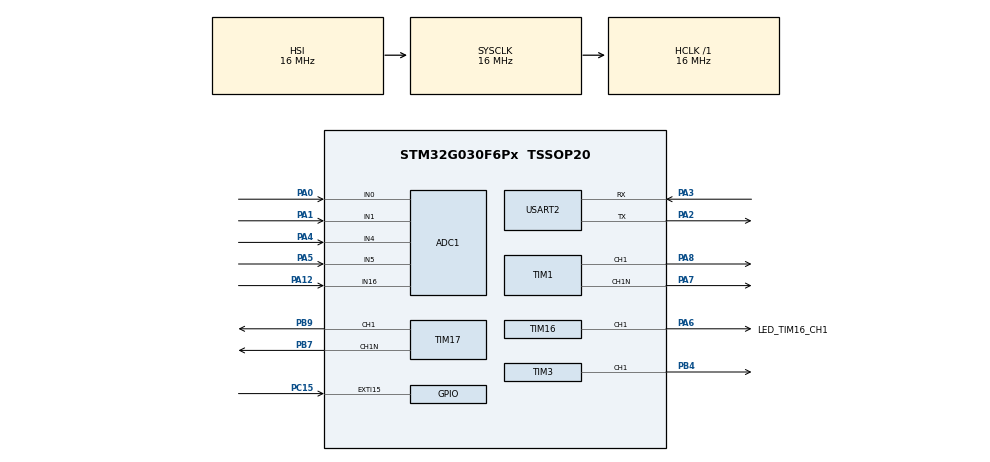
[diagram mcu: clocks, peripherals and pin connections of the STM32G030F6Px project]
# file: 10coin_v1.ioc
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ADC1.DMAContinuousRequests=ENABLE
ADC1.DataAlign=ADC_DATAALIGN_RIGHT
ADC1.ExternalTrigConv=ADC_EXTERNALTRIG_T3_TRGO
ADC1.NbrOfConversion=1
ADC1.NbrOfConversionFlag=0
ADC1.SamplingTimeCommon1=ADC_SAMPLETIME_7CYCLES_5
ADC1.SelectedChannel=ADC_CHANNEL_0|ADC_CHANNEL_1|ADC_CHANNEL_4|ADC_CHANNEL_5|ADC_CHANNEL_16
ADC1.Sequencer=NOT_FULLY_CONFIGURABLE
ADC1.master=1
Dma.ADC1.0.Direction=DMA_PERIPH_TO_MEMORY
Dma.ADC1.0.EventEnable=DISABLE
Dma.ADC1.0.Instance=DMA1_Channel1
Dma.ADC1.0.MemDataAlignment=DMA_MDATAALIGN_WORD
Dma.ADC1.0.MemInc=DMA_MINC_ENABLE
Dma.ADC1.0.Mode=DMA_CIRCULAR
Dma.ADC1.0.PeriphDataAlignment=DMA_PDATAALIGN_WORD
Dma.ADC1.0.PeriphInc=DMA_PINC_DISABLE
Dma.ADC1.0.Polarity=HAL_DMAMUX_REQ_GEN_RISING
Dma.ADC1.0.Priority=DMA_PRIORITY_LOW
Dma.ADC1.0.RequestNumber=1
Dma.ADC1.0.SignalID=NONE
Dma.ADC1.0.SyncEnable=DISABLE
Dma.ADC1.0.SyncPolarity=HAL_DMAMUX_SYNC_NO_EVENT
Dma.ADC1.0.SyncRequestNumber=1
Dma.ADC1.0.SyncSignalID=NONE
Dma.Request0=ADC1
Mcu.Family=STM32G0
Mcu.Name=STM32G030F6Px
Mcu.Package=TSSOP20
NVIC.DMA1_Channel1_IRQn=true\:0\:0\:false\:false\:true\:false\:true\:true
NVIC.TIM3_IRQn=true\:0\:0\:false\:false\:true\:true\:true\:true
NVIC.USART2_IRQn=true\:0\:0\:false\:false\:true\:true\:true\:true
PA0.Mode=IN0
PA0.Signal=ADC1_IN0
PA1.Mode=IN1
PA1.Signal=ADC1_IN1
PA12\ [PA10].Mode=IN16
PA12\ [PA10].Signal=ADC1_IN16
PA13.Mode=Serial_Wire
PA13.Signal=SYS_SWDIO
PA14-BOOT0.Mode=Serial_Wire
PA14-BOOT0.Signal=SYS_SWCLK
PA14-BOOT0__PA15.StandardMode=true
PA2.Mode=Asynchronous
PA2.Signal=USART2_TX
PA3.Mode=Asynchronous
PA3.Signal=USART2_RX
PA4.Mode=IN4
PA4.Signal=ADC1_IN4
PA5.Mode=IN5
PA5.Signal=ADC1_IN5
PA6.GPIO_Label=LED_TIM16_CH1
PA6.Signal=S_TIM16_CH1
PA7.Mode=PWM Generation1 CH1 CH1N
PA7.Signal=TIM1_CH1N
PA8.Signal=S_TIM1_CH1
PB0__PB1__PB2__PA8.StandardMode=true
PB3__PB4__PB5__PB6.StandardMode=true
PB4.Signal=S_TIM3_CH1
PB7.Mode=PWM Generation1 CH1 CH1N
PB7.Signal=TIM17_CH1N
PB7__PB8.StandardMode=true
PB9.Signal=S_TIM17_CH1
PC14-OSC32_IN\ (PC14)__PB9.StandardMode=true
PC15-OSC32_OUT\ (PC15).Signal=GPXTI15
ProjectManager.HeapSize=0x200
ProjectManager.StackSize=0x400
ProjectManager.TargetToolchain=CMake
RCC.ADCFreq_Value=16000000
RCC.AHBFreq_Value=16000000
RCC.CortexFreq_Value=16000000
RCC.EXTERNAL_CLOCK_VALUE=12288000
RCC.HCLKFreq_Value=16000000
RCC.HSE_VALUE=8000000
RCC.HSI_VALUE=16000000
RCC.LSE_VALUE=32768
RCC.SYSCLKFreq_VALUE=16000000
RCC.VCOOutputFreq_Value=128000000
SH.S_TIM16_CH1.0=TIM16_CH1,PWM Generation1 CH1
SH.S_TIM17_CH1.0=TIM17_CH1,PWM Generation1 CH1 CH1N
SH.S_TIM1_CH1.0=TIM1_CH1,PWM Generation1 CH1 CH1N
SH.S_TIM3_CH1.0=TIM3_CH1,PWM Generation1 CH1
TIM1.Channel-PWM\ Generation1\ CH1\ CH1N=TIM_CHANNEL_1
TIM16.Channel=TIM_CHANNEL_1
TIM17.Channel=TIM_CHANNEL_1
TIM3.AutoReloadPreload=TIM_AUTORELOAD_PRELOAD_ENABLE
TIM3.Channel-PWM\ Generation1\ CH1=TIM_CHANNEL_1
TIM3.ClockDivision=TIM_CLOCKDIVISION_DIV1
TIM3.CounterMode=TIM_COUNTERMODE_CENTERALIGNED1
TIM3.Period=65535
TIM3.Prescaler=0
TIM3.Pulse-PWM\ Generation1\ CH1=30000
TIM3.TIM_MasterOutputTrigger=TIM_TRGO_UPDATE
USART2.SwapParam=ADVFEATURE_SWAP_ENABLE
USART2.VirtualMode-Asynchronous=VM_ASYNC
VP_TIM16_VS_ClockSourceINT.Mode=Enable_Timer
VP_TIM17_VS_ClockSourceINT.Mode=Enable_Timer
board=custom

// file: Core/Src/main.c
/* USER CODE BEGIN Header */
/**
  ******************************************************************************
  * @file           : main.c
  * @brief          : Main program body
  ******************************************************************************
  * @attention
  *
  * Copyright (c) 2026 STMicroelectronics.
  * All rights reserved.
  *
  * This software is licensed under terms that can be found in the LICENSE file
  * in the root directory of this software component.
  * If no LICENSE file comes with this software, it is provided AS-IS.
  *
  ******************************************************************************
  */
/* USER CODE END Header */
#include "main.h"

/* USER CODE BEGIN Includes */
#include "stdlib.h"
#include "stdint.h"
#include "stm32g0xx_hal.h"
#include "stm32g0xx_hal_adc.h"
#include "stm32g0xx_hal_tim.h"
#include "string.h"
#include "stdio.h"
#include "cmsis_compiler.h"
#include "stm32g0xx.h"
// #include <corecrt_math.h>
// #include <locale>
#include <stdint.h>
#include <sys/_intsup.h>
#include <sys/types.h>
/* USER CODE END Includes */

ADC_HandleTypeDef hadc1;
DMA_HandleTypeDef hdma_adc1;

TIM_HandleTypeDef htim1;
TIM_HandleTypeDef htim3;
TIM_HandleTypeDef htim16;
TIM_HandleTypeDef htim17;

UART_HandleTypeDef huart2;

/* USER CODE BEGIN PV */
uint32_t ADC_Buff[5];
int32_t meas_volt[5];

int32_t conter = 0;

int32_t clkspeed = 16000000;

uint32_t PWM_Freq_3;
int32_t PWM_DutyC_3;
int32_t PWM_Period_3;
int32_t PWM_Prescaler_3;
int32_t PWM_PulseWidth_3;

int32_t PWM_Freq_1;
int32_t PWM_DutyC_1;
int32_t PWM_Period_1;
int32_t PWM_DeadT_1;

int32_t PWM_Freq_17;
int32_t PWM_DutyC_17;
int32_t PWM_Period_17;
int32_t PWM_DeadT_17;

// char userstring[80];
uint32_t userinput;
/* USER CODE END PV */

void SystemClock_Config(void);
static void MX_GPIO_Init(void);
static void MX_DMA_Init(void);
static void MX_ADC1_Init(void);
static void MX_TIM1_Init(void);
static void MX_TIM3_Init(void);
static void MX_TIM16_Init(void);
static void MX_TIM17_Init(void);
static void MX_USART2_UART_Init(void);

/* USER CODE BEGIN 0 */
  #ifdef __GNUC__
    #define PUTCHAR_PROTOTYPE int __io_putchar(int ch)
  #else
    #define PUTCHAR_PROTOTYPE int fputc(int ch, FILE *f)
  #endif

PUTCHAR_PROTOTYPE
{
  HAL_UART_Transmit(&huart2, (uint8_t *)&ch, 1, 0xFFF);

  return ch;
}

// #ifdef __GNUC__
// #define GETCHAR_PROTOTYPE int __io_getchar(void)
// #else
// #define GETCHAR_PROTOTYPE int fgetc(FILE *f)
// #endif

// GETCHAR_PROTOTYPE
// {
//   uint8_t ch = 0;

//   /* Clear the Overrun flag just before receiving the first character */
//   __HAL_UART_CLEAR_OREFLAG(&huart2);

//   /* Wait for reception of a character on the USART RX line and echo this
//    * character on console */
//   HAL_UART_Receive(&huart2, (uint8_t *)&ch, 1, HAL_MAX_DELAY);
//   HAL_UART_Transmit(&huart2, (uint8_t *)&ch, 1, HAL_MAX_DELAY);
//   return ch;
// }

long map(long x, long in_min, long in_max, long out_min, long out_max)
{
  return (x - in_min) * (out_max - out_min + 1) / (in_max - in_min + 1) + out_min;
}

uint32_t Timer_CalculatePeriod(uint32_t timerClockHz, uint32_t outputFreqHz, uint16_t prescaler)
{
    return (timerClockHz / (outputFreqHz * (prescaler + 1)) - 1);
}

uint32_t Timer_CalculateDutyC(uint32_t PWM_Period, uint32_t PWM_DutyC)
{
    return (int)((PWM_Period*PWM_DutyC)/100);
}

// int32_t pulsewidth(int32_t voltage)
// {
//   if()
// }

void HAL_TIM_PeriodElapsedCallback(TIM_HandleTypeDef *htim)
{
  if (htim->Instance == TIM3) // Check which timer triggered the interrupt
  {
    // Your interrupt logic (e.g., toggle an LED, set a flag)
    printf("eitje klaar");
  }
}

/* USER CODE END 0 */

int main(void)
{

  /* MCU Configuration--------------------------------------------------------*/

  /* Reset of/ all peripherals, Initializes the Flash interface and the Systick. */
  HAL_Init();

  /* USER CODE BEGIN Init */
  // printf("USER CODE BEGIN Init \n");
  /* USER CODE END Init */

  /* Configure the system clock */
  SystemClock_Config();

  /* Initialize all configured peripherals */
  MX_GPIO_Init();
  MX_DMA_Init();
  MX_ADC1_Init();
  MX_TIM1_Init();
  MX_TIM3_Init();
  MX_TIM16_Init();
  MX_TIM17_Init();
  MX_USART2_UART_Init();
  // setvbuf(stdin, NULL, _IONBF, 0); // for scanf
  /* USER CODE BEGIN 2 */
  // printf("USER CODE BEGIN 2 \n");
  // PWM_Period = clkspeed/(2*PWM_Freq) - 1;
  PWM_Freq_3    = 5;
  PWM_DutyC_3   = 50;
  PWM_Prescaler_3 = 160;
  PWM_Period_3  = Timer_CalculatePeriod(clkspeed, PWM_Freq_3, PWM_Prescaler_3);
  TIM3->ARR     = PWM_Period_3;
  TIM3->CCR1    = (int)((PWM_Period_3*PWM_DutyC_3)/100);
  TIM3->PSC     = PWM_Prescaler_3;

  PWM_Freq_1    = 80000;
  PWM_DutyC_1   = 50;
  PWM_Period_1  = Timer_CalculatePeriod(clkspeed, PWM_Freq_1, 0);
  PWM_DeadT_1   = 5;

  TIM1->ARR     = PWM_Period_1;
  TIM1->CCR1    = Timer_CalculateDutyC(PWM_Period_1,PWM_DutyC_1);
  TIM1->BDTR    = PWM_DeadT_1;

  PWM_DutyC_17  = 50;
  PWM_Freq_17   = 70000;
  PWM_Period_17 = Timer_CalculatePeriod(clkspeed, PWM_Freq_17, 0);
  PWM_DeadT_17  = 5;

  TIM17->ARR    = PWM_Period_17;
  TIM17->CCR1   = Timer_CalculateDutyC(PWM_Period_17,PWM_DutyC_17);
  TIM17->BDTR   = PWM_DeadT_17;
  // __HAL_TIM_SET_AUTORELOAD(&htim1, PWM_Period);
  // __HAL_TIM_SET_COMPARE(&htim1, TIM_CHANNEL_1, (int)((PWM_Period*PWM_DutyC)/100));

  HAL_TIM_PWM_Start(&htim3, TIM_CHANNEL_1);
  HAL_TIM_PWM_Start(&htim1, TIM_CHANNEL_1);
  HAL_TIM_PWM_Start(&htim17, TIM_CHANNEL_1);
  HAL_TIMEx_PWMN_Start(&htim17, TIM_CHANNEL_1);

  HAL_ADCEx_Calibration_Start(&hadc1);
  HAL_ADC_Start_DMA(&hadc1, (uint32_t*)ADC_Buff, 5);
  /* USER CODE END 2 */

  /* Infinite loop */
  /* USER CODE BEGIN WHILE */
  // printf("USER CODE BEGIN WHILE\n");
  while (1)
  {
    /* USER CODE END WHILE */
    // counter for serial debugging
    printf("counter: %ld\n", (long)conter);
    conter++;

    // PWM_Freq_1  = map(meas_volt[0], 0, 3300, 10, 2000); // V->Hz
    PWM_DutyC_17 = map(meas_volt[1], 0, 3300, 0, 100);   // V->%
    // PWM_Period_17= clkspeed/(2*PWM_Freq_1) - 1;
    TIM17->CCR1  = (int)((PWM_Period_17 * PWM_DutyC_17)/100);
    // TIM1->ARR   = PWM_Period_1;

    // print voltage measurement to compare to scope
    for (int i = 0; i < 5; i++)
    {
       printf("ADC_%d:%ld\n", i, meas_volt[i]);
    }

    // so the serial monitor is readable at all
    HAL_Delay(50);
  }
}

void SystemClock_Config(void)
{
  RCC_OscInitTypeDef RCC_OscInitStruct = {0};
  RCC_ClkInitTypeDef RCC_ClkInitStruct = {0};

  /** Configure the main internal regulator output voltage
  */
  HAL_PWREx_ControlVoltageScaling(PWR_REGULATOR_VOLTAGE_SCALE1);

  /** Initializes the RCC Oscillators according to the specified parameters
  * in the RCC_OscInitTypeDef structure.
  */
  RCC_OscInitStruct.OscillatorType = RCC_OSCILLATORTYPE_HSI;
  RCC_OscInitStruct.HSIState = RCC_HSI_ON;
  RCC_OscInitStruct.HSIDiv = RCC_HSI_DIV1;
  RCC_OscInitStruct.HSICalibrationValue = RCC_HSICALIBRATION_DEFAULT;
  RCC_OscInitStruct.PLL.PLLState = RCC_PLL_NONE;
  if (HAL_RCC_OscConfig(&RCC_OscInitStruct) != HAL_OK)
  {
    Error_Handler();
  }

  /** Initializes the CPU, AHB and APB buses clocks
  */
  RCC_ClkInitStruct.ClockType = RCC_CLOCKTYPE_HCLK|RCC_CLOCKTYPE_SYSCLK
                              |RCC_CLOCKTYPE_PCLK1;
  RCC_ClkInitStruct.SYSCLKSource = RCC_SYSCLKSOURCE_HSI;
  RCC_ClkInitStruct.AHBCLKDivider = RCC_SYSCLK_DIV1;
  RCC_ClkInitStruct.APB1CLKDivider = RCC_HCLK_DIV1;

  if (HAL_RCC_ClockConfig(&RCC_ClkInitStruct, FLASH_LATENCY_0) != HAL_OK)
  {
    Error_Handler();
  }
}

static void MX_ADC1_Init(void)
{

  ADC_ChannelConfTypeDef sConfig = {0};

  /** Configure the global features of the ADC (Clock, Resolution, Data Alignment and number of conversion)
  */
  hadc1.Instance = ADC1;
  hadc1.Init.ClockPrescaler = ADC_CLOCK_SYNC_PCLK_DIV2;
  hadc1.Init.Resolution = ADC_RESOLUTION_12B;
  hadc1.Init.DataAlign = ADC_DATAALIGN_RIGHT;
  hadc1.Init.ScanConvMode = ADC_SCAN_SEQ_FIXED;
  hadc1.Init.EOCSelection = ADC_EOC_SINGLE_CONV;
  hadc1.Init.LowPowerAutoWait = DISABLE;
  hadc1.Init.LowPowerAutoPowerOff = DISABLE;
  hadc1.Init.ContinuousConvMode = DISABLE;
  hadc1.Init.NbrOfConversion = 1;
  hadc1.Init.DiscontinuousConvMode = DISABLE;
  hadc1.Init.ExternalTrigConv = ADC_EXTERNALTRIG_T3_TRGO;
  hadc1.Init.ExternalTrigConvEdge = ADC_EXTERNALTRIGCONVEDGE_RISING;
  hadc1.Init.DMAContinuousRequests = ENABLE;
  hadc1.Init.Overrun = ADC_OVR_DATA_PRESERVED;
  hadc1.Init.SamplingTimeCommon1 = ADC_SAMPLETIME_7CYCLES_5;
  hadc1.Init.OversamplingMode = DISABLE;
  hadc1.Init.TriggerFrequencyMode = ADC_TRIGGER_FREQ_HIGH;
  if (HAL_ADC_Init(&hadc1) != HAL_OK)
  {
    Error_Handler();
  }

  /** Configure Regular Channel
  */
  sConfig.Channel = ADC_CHANNEL_0;
  sConfig.Rank = ADC_RANK_CHANNEL_NUMBER;
  if (HAL_ADC_ConfigChannel(&hadc1, &sConfig) != HAL_OK)
  {
    Error_Handler();
  }

  /** Configure Regular Channel
  */
  sConfig.Channel = ADC_CHANNEL_1;
  if (HAL_ADC_ConfigChannel(&hadc1, &sConfig) != HAL_OK)
  {
    Error_Handler();
  }

  /** Configure Regular Channel
  */
  sConfig.Channel = ADC_CHANNEL_4;
  if (HAL_ADC_ConfigChannel(&hadc1, &sConfig) != HAL_OK)
  {
    Error_Handler();
  }

  /** Configure Regular Channel
  */
  sConfig.Channel = ADC_CHANNEL_5;
  if (HAL_ADC_ConfigChannel(&hadc1, &sConfig) != HAL_OK)
  {
    Error_Handler();
  }

  /** Configure Regular Channel
  */
  sConfig.Channel = ADC_CHANNEL_16;
  if (HAL_ADC_ConfigChannel(&hadc1, &sConfig) != HAL_OK)
  {
    Error_Handler();
  }

}

static void MX_TIM1_Init(void)
{

  TIM_MasterConfigTypeDef sMasterConfig = {0};
  TIM_OC_InitTypeDef sConfigOC = {0};
  TIM_BreakDeadTimeConfigTypeDef sBreakDeadTimeConfig = {0};

  htim1.Instance = TIM1;
  htim1.Init.Prescaler = 0;
  htim1.Init.CounterMode = TIM_COUNTERMODE_UP;
  htim1.Init.Period = 65535;
  htim1.Init.ClockDivision = TIM_CLOCKDIVISION_DIV1;
  htim1.Init.RepetitionCounter = 0;
  htim1.Init.AutoReloadPreload = TIM_AUTORELOAD_PRELOAD_DISABLE;
  if (HAL_TIM_PWM_Init(&htim1) != HAL_OK)
  {
    Error_Handler();
  }
  sMasterConfig.MasterOutputTrigger = TIM_TRGO_RESET;
  sMasterConfig.MasterOutputTrigger2 = TIM_TRGO2_RESET;
  sMasterConfig.MasterSlaveMode = TIM_MASTERSLAVEMODE_DISABLE;
  if (HAL_TIMEx_MasterConfigSynchronization(&htim1, &sMasterConfig) != HAL_OK)
  {
    Error_Handler();
  }
  sConfigOC.OCMode = TIM_OCMODE_PWM1;
  sConfigOC.Pulse = 0;
  sConfigOC.OCPolarity = TIM_OCPOLARITY_HIGH;
  sConfigOC.OCNPolarity = TIM_OCNPOLARITY_HIGH;
  sConfigOC.OCFastMode = TIM_OCFAST_DISABLE;
  sConfigOC.OCIdleState = TIM_OCIDLESTATE_RESET;
  sConfigOC.OCNIdleState = TIM_OCNIDLESTATE_RESET;
  if (HAL_TIM_PWM_ConfigChannel(&htim1, &sConfigOC, TIM_CHANNEL_1) != HAL_OK)
  {
    Error_Handler();
  }
  sBreakDeadTimeConfig.OffStateRunMode = TIM_OSSR_DISABLE;
  sBreakDeadTimeConfig.OffStateIDLEMode = TIM_OSSI_DISABLE;
  sBreakDeadTimeConfig.LockLevel = TIM_LOCKLEVEL_OFF;
  sBreakDeadTimeConfig.DeadTime = 0;
  sBreakDeadTimeConfig.BreakState = TIM_BREAK_DISABLE;
  sBreakDeadTimeConfig.BreakPolarity = TIM_BREAKPOLARITY_HIGH;
  sBreakDeadTimeConfig.BreakFilter = 0;
  sBreakDeadTimeConfig.BreakAFMode = TIM_BREAK_AFMODE_INPUT;
  sBreakDeadTimeConfig.Break2State = TIM_BREAK2_DISABLE;
  sBreakDeadTimeConfig.Break2Polarity = TIM_BREAK2POLARITY_HIGH;
  sBreakDeadTimeConfig.Break2Filter = 0;
  sBreakDeadTimeConfig.Break2AFMode = TIM_BREAK_AFMODE_INPUT;
  sBreakDeadTimeConfig.AutomaticOutput = TIM_AUTOMATICOUTPUT_DISABLE;
  if (HAL_TIMEx_ConfigBreakDeadTime(&htim1, &sBreakDeadTimeConfig) != HAL_OK)
  {
    Error_Handler();
  }
  HAL_TIM_MspPostInit(&htim1);

}

static void MX_TIM3_Init(void)
{

  TIM_MasterConfigTypeDef sMasterConfig = {0};
  TIM_OC_InitTypeDef sConfigOC = {0};

  htim3.Instance = TIM3;
  htim3.Init.Prescaler = 0;
  htim3.Init.CounterMode = TIM_COUNTERMODE_CENTERALIGNED1;
  htim3.Init.Period = 65535;
  htim3.Init.ClockDivision = TIM_CLOCKDIVISION_DIV1;
  htim3.Init.AutoReloadPreload = TIM_AUTORELOAD_PRELOAD_ENABLE;
  if (HAL_TIM_PWM_Init(&htim3) != HAL_OK)
  {
    Error_Handler();
  }
  sMasterConfig.MasterOutputTrigger = TIM_TRGO_UPDATE;
  sMasterConfig.MasterSlaveMode = TIM_MASTERSLAVEMODE_DISABLE;
  if (HAL_TIMEx_MasterConfigSynchronization(&htim3, &sMasterConfig) != HAL_OK)
  {
    Error_Handler();
  }
  sConfigOC.OCMode = TIM_OCMODE_PWM1;
  sConfigOC.Pulse = 30000;
  sConfigOC.OCPolarity = TIM_OCPOLARITY_HIGH;
  sConfigOC.OCFastMode = TIM_OCFAST_DISABLE;
  if (HAL_TIM_PWM_ConfigChannel(&htim3, &sConfigOC, TIM_CHANNEL_1) != HAL_OK)
  {
    Error_Handler();
  }
  HAL_TIM_MspPostInit(&htim3);

}

static void MX_TIM16_Init(void)
{

  TIM_OC_InitTypeDef sConfigOC = {0};
  TIM_BreakDeadTimeConfigTypeDef sBreakDeadTimeConfig = {0};

  htim16.Instance = TIM16;
  htim16.Init.Prescaler = 0;
  htim16.Init.CounterMode = TIM_COUNTERMODE_UP;
  htim16.Init.Period = 65535;
  htim16.Init.ClockDivision = TIM_CLOCKDIVISION_DIV1;
  htim16.Init.RepetitionCounter = 0;
  htim16.Init.AutoReloadPreload = TIM_AUTORELOAD_PRELOAD_DISABLE;
  if (HAL_TIM_Base_Init(&htim16) != HAL_OK)
  {
    Error_Handler();
  }
  if (HAL_TIM_PWM_Init(&htim16) != HAL_OK)
  {
    Error_Handler();
  }
  sConfigOC.OCMode = TIM_OCMODE_PWM1;
  sConfigOC.Pulse = 0;
  sConfigOC.OCPolarity = TIM_OCPOLARITY_HIGH;
  sConfigOC.OCNPolarity = TIM_OCNPOLARITY_HIGH;
  sConfigOC.OCFastMode = TIM_OCFAST_DISABLE;
  sConfigOC.OCIdleState = TIM_OCIDLESTATE_RESET;
  sConfigOC.OCNIdleState = TIM_OCNIDLESTATE_RESET;
  if (HAL_TIM_PWM_ConfigChannel(&htim16, &sConfigOC, TIM_CHANNEL_1) != HAL_OK)
  {
    Error_Handler();
  }
  sBreakDeadTimeConfig.OffStateRunMode = TIM_OSSR_DISABLE;
  sBreakDeadTimeConfig.OffStateIDLEMode = TIM_OSSI_DISABLE;
  sBreakDeadTimeConfig.LockLevel = TIM_LOCKLEVEL_OFF;
  sBreakDeadTimeConfig.DeadTime = 0;
  sBreakDeadTimeConfig.BreakState = TIM_BREAK_DISABLE;
  sBreakDeadTimeConfig.BreakPolarity = TIM_BREAKPOLARITY_HIGH;
  sBreakDeadTimeConfig.BreakFilter = 0;
  sBreakDeadTimeConfig.AutomaticOutput = TIM_AUTOMATICOUTPUT_DISABLE;
  if (HAL_TIMEx_ConfigBreakDeadTime(&htim16, &sBreakDeadTimeConfig) != HAL_OK)
  {
    Error_Handler();
  }
  HAL_TIM_MspPostInit(&htim16);

}

static void MX_TIM17_Init(void)
{

  TIM_OC_InitTypeDef sConfigOC = {0};
  TIM_BreakDeadTimeConfigTypeDef sBreakDeadTimeConfig = {0};

  htim17.Instance = TIM17;
  htim17.Init.Prescaler = 0;
  htim17.Init.CounterMode = TIM_COUNTERMODE_UP;
  htim17.Init.Period = 65535;
  htim17.Init.ClockDivision = TIM_CLOCKDIVISION_DIV1;
  htim17.Init.RepetitionCounter = 0;
  htim17.Init.AutoReloadPreload = TIM_AUTORELOAD_PRELOAD_ENABLE;
  if (HAL_TIM_Base_Init(&htim17) != HAL_OK)
  {
    Error_Handler();
  }
  if (HAL_TIM_PWM_Init(&htim17) != HAL_OK)
  {
    Error_Handler();
  }
  sConfigOC.OCMode = TIM_OCMODE_PWM1;
  sConfigOC.Pulse = 33000;
  sConfigOC.OCPolarity = TIM_OCPOLARITY_HIGH;
  sConfigOC.OCNPolarity = TIM_OCNPOLARITY_HIGH;
  sConfigOC.OCFastMode = TIM_OCFAST_DISABLE;
  sConfigOC.OCIdleState = TIM_OCIDLESTATE_RESET;
  sConfigOC.OCNIdleState = TIM_OCNIDLESTATE_RESET;
  if (HAL_TIM_PWM_ConfigChannel(&htim17, &sConfigOC, TIM_CHANNEL_1) != HAL_OK)
  {
    Error_Handler();
  }
  sBreakDeadTimeConfig.OffStateRunMode = TIM_OSSR_DISABLE;
  sBreakDeadTimeConfig.OffStateIDLEMode = TIM_OSSI_DISABLE;
  sBreakDeadTimeConfig.LockLevel = TIM_LOCKLEVEL_OFF;
  sBreakDeadTimeConfig.DeadTime = 100;
  sBreakDeadTimeConfig.BreakState = TIM_BREAK_DISABLE;
  sBreakDeadTimeConfig.BreakPolarity = TIM_BREAKPOLARITY_HIGH;
  sBreakDeadTimeConfig.BreakFilter = 0;
  sBreakDeadTimeConfig.AutomaticOutput = TIM_AUTOMATICOUTPUT_DISABLE;
  if (HAL_TIMEx_ConfigBreakDeadTime(&htim17, &sBreakDeadTimeConfig) != HAL_OK)
  {
    Error_Handler();
  }
  HAL_TIM_MspPostInit(&htim17);

}

static void MX_USART2_UART_Init(void)
{

  huart2.Instance = USART2;
  huart2.Init.BaudRate = 115200;
  huart2.Init.WordLength = UART_WORDLENGTH_8B;
  huart2.Init.StopBits = UART_STOPBITS_1;
  huart2.Init.Parity = UART_PARITY_NONE;
  huart2.Init.Mode = UART_MODE_TX_RX;
  huart2.Init.HwFlowCtl = UART_HWCONTROL_NONE;
  huart2.Init.OverSampling = UART_OVERSAMPLING_16;
  huart2.Init.OneBitSampling = UART_ONE_BIT_SAMPLE_DISABLE;
  huart2.Init.ClockPrescaler = UART_PRESCALER_DIV1;
  huart2.AdvancedInit.AdvFeatureInit = UART_ADVFEATURE_SWAP_INIT;
  huart2.AdvancedInit.Swap = UART_ADVFEATURE_SWAP_ENABLE;
  if (HAL_UART_Init(&huart2) != HAL_OK)
  {
    Error_Handler();
  }

}

static void MX_DMA_Init(void)
{

  /* DMA controller clock enable */
  __HAL_RCC_DMA1_CLK_ENABLE();

  /* DMA interrupt init */
  /* DMA1_Channel1_IRQn interrupt configuration */
  HAL_NVIC_SetPriority(DMA1_Channel1_IRQn, 0, 0);
  HAL_NVIC_EnableIRQ(DMA1_Channel1_IRQn);
  /* DMA1_Ch4_5_DMAMUX1_OVR_IRQn interrupt configuration */
  HAL_NVIC_SetPriority(DMA1_Ch4_5_DMAMUX1_OVR_IRQn, 0, 0);
  HAL_NVIC_EnableIRQ(DMA1_Ch4_5_DMAMUX1_OVR_IRQn);

}

static void MX_GPIO_Init(void)
{
  GPIO_InitTypeDef GPIO_InitStruct = {0};

  /* GPIO Ports Clock Enable */
  __HAL_RCC_GPIOB_CLK_ENABLE();
  __HAL_RCC_GPIOC_CLK_ENABLE();
  __HAL_RCC_GPIOA_CLK_ENABLE();

  /*Configure GPIO pin : PC15 */
  GPIO_InitStruct.Pin = GPIO_PIN_15;
  GPIO_InitStruct.Mode = GPIO_MODE_IT_RISING;
  GPIO_InitStruct.Pull = GPIO_NOPULL;
  HAL_GPIO_Init(GPIOC, &GPIO_InitStruct);

}

/* USER CODE BEGIN 4 */
void HAL_ADC_ConvCpltCallback(ADC_HandleTypeDef *hadc)
{
  UNUSED(hadc);

    for(int i = 0; i < 5; i++)
    {
      meas_volt[i] = ((ADC_Buff[i]*3300)/4095);
    }

}
/* USER CODE END 4 */

void Error_Handler(void)
{
  __disable_irq();
  while (1)
  {
  }
}
